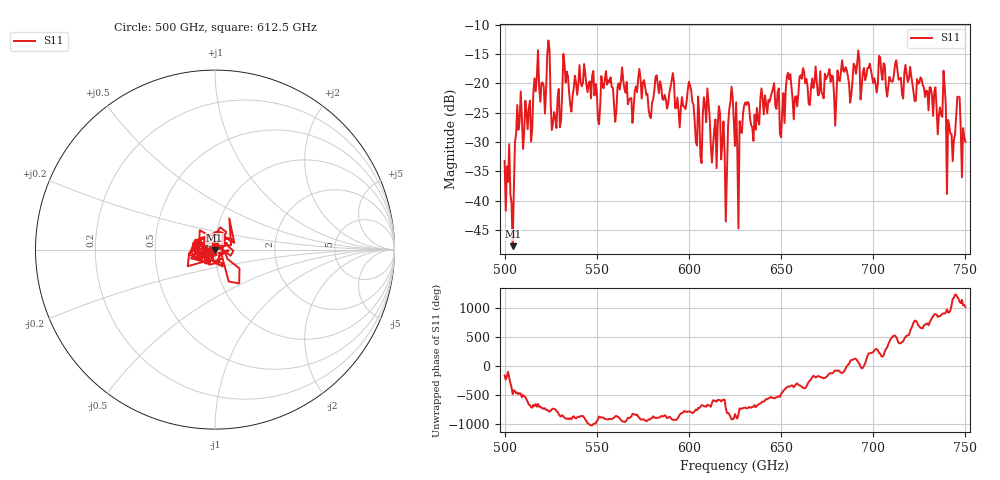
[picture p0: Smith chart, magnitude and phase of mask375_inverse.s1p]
!Created with skrf (http://scikit-rf.org).
# GHz S MA R 50.0
!freq magS11 angS11
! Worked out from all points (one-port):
!   401 points, 500 GHz to 750 GHz, reference 50 ohm
!   lowest |S11| = -47.7 dB at 504.4 GHz (marker M1), VSWR 1.01, Z = 49.8 - j0.34 ohm
!   |S11| at or under -10 dB: start of sweep to end of sweep
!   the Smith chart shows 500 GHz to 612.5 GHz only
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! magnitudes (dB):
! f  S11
! 500 GHz  -33.2
! 504.4 GHz  -47.7
! 507.5 GHz  -27.9
! 513.8 GHz  -23.0
! 516.9 GHz  -21.4
! 523.8 GHz  -12.7
! 526.9 GHz  -24.9
! 531.2 GHz  -21.7
! 562.5 GHz  -21.1
! 579.4 GHz  -25.9
! 590.6 GHz  -19.6
! 593.8 GHz  -22.4
! 600.6 GHz  -20.4
! 605.6 GHz  -25.8
! 609.4 GHz  -26.6
! 613.8 GHz  -27.9
! 617.5 GHz  -33.0
! 619.4 GHz  -31.9
! 622.5 GHz  -23.3
! 625 GHz  -30.7
! 627.5 GHz  -26.4
! 631.2 GHz  -23.7
! 635 GHz  -29.8
! 656.2 GHz  -22.7
! 687.5 GHz  -23.3
! 718.8 GHz  -19.8
! 746.2 GHz  -22.3
! 750 GHz  -30.0
